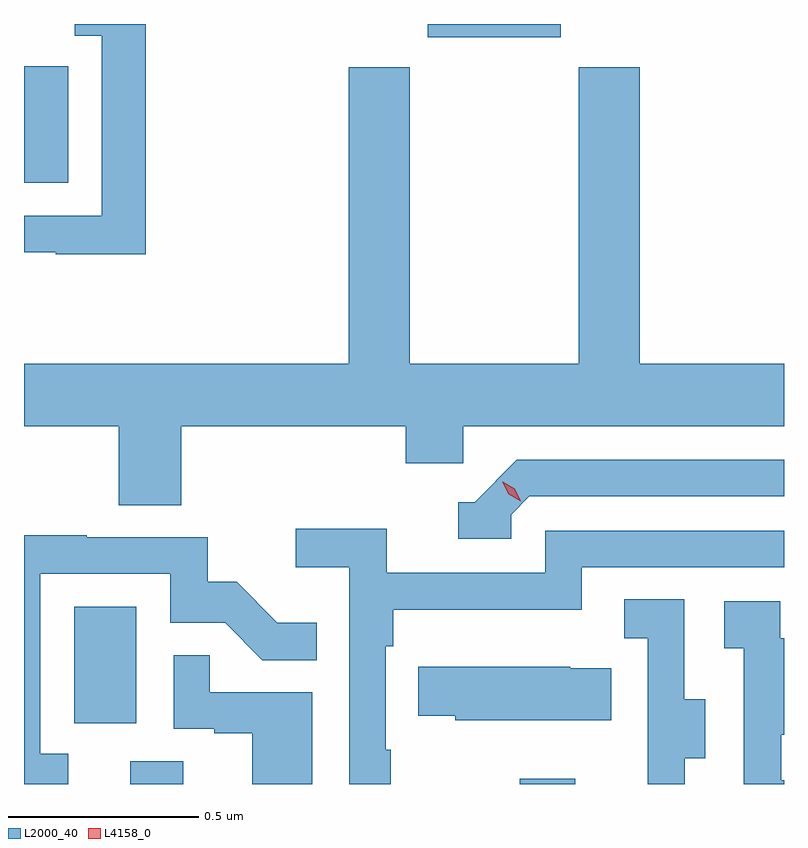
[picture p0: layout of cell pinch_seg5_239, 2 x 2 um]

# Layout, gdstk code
import gdstk
lib = gdstk.Library(unit=1e-6, precision=1e-09)
def R(c, l, rs):  # rectangles x0, y0, x1, y1
    for r in rs: c.add(gdstk.rectangle(r[:2], r[2:], *l))
def P(c, l, *ps):  # polygons
    for p in ps: c.add(gdstk.Polygon(p, *l))
L2000_40 = (2000, 40)
L4158_0 = (4158, 0)

pinch_seg5_239 = lib.new_cell('pinch_seg5_239')
R(pinch_seg5_239, L2000_40, [(969.995,913.094,970.135,913.154), (971.02,913.094,971.167,913.108), (969.848,913.254,970.012,913.561), (969.716,914.676,969.832,914.983), (970.778,915.059,971.128,915.094)])
P(pinch_seg5_239, L2000_40, [(970.037,915.094),(969.849,915.094),(969.849,915.063),(969.921,915.063),(969.921,914.589),(969.716,914.589),(969.716,914.493),(969.799,914.493),(969.799,914.488),(970.037,914.488)],
  [(970.13,914.036),(970.721,914.036),(970.721,913.938),(970.872,913.938),(970.872,914.036),(971.716,914.036),(971.716,914.2),(971.336,914.2),(971.336,914.98),(971.176,914.98),(971.176,914.2),(970.731,914.2),(970.731,914.98),(970.571,914.98),(970.571,914.2),(969.716,914.2),(969.716,914.036),(969.965,914.036),(969.965,913.828),(970.13,913.828)],
  [(970.998,913.803),(971.046,913.851),(971.716,913.851),(971.716,913.947),(971.013,913.947),(970.902,913.836),(970.859,913.836),(970.859,913.74),(970.998,913.74)],
  [(970.681,913.184),(970.668,913.184),(970.668,913.457),(970.688,913.457),(970.688,913.553),(971.184,913.553),(971.184,913.665),(971.716,913.665),(971.716,913.761),(971.088,913.761),(971.088,913.65),(970.67,913.65),(970.67,913.766),(970.431,913.766),(970.431,913.664),(970.572,913.664),(970.572,913.094),(970.681,913.094)],
  [(969.832,913.173),(969.759,913.173),(969.759,913.647),(970.101,913.647),(970.101,913.518),(970.245,913.518),(970.343,913.42),(970.487,913.42),(970.487,913.519),(970.383,913.519),(970.276,913.626),(970.2,913.626),(970.2,913.743),(969.881,913.743),(969.881,913.748),(969.716,913.748),(969.716,913.094),(969.832,913.094)],
  [(971.455,913.162),(971.509,913.162),(971.509,913.317),(971.454,913.317),(971.454,913.58),(971.295,913.58),(971.295,913.477),(971.358,913.477),(971.358,913.173),(971.357,913.173),(971.357,913.094),(971.455,913.094)],
  [(971.716,913.104),(971.709,913.104),(971.709,913.223),(971.716,913.223),(971.716,913.477),(971.706,913.477),(971.706,913.575),(971.559,913.575),(971.559,913.451),(971.61,913.451),(971.61,913.094),(971.716,913.094)],
  [(970.474,913.335),(970.205,913.335),(970.205,913.433),(970.11,913.433),(970.11,913.239),(970.217,913.239),(970.217,913.227),(970.316,913.227),(970.316,913.094),(970.474,913.094)],
  [(971.261,913.399),(971.153,913.399),(971.153,913.402),(970.753,913.402),(970.753,913.273),(970.851,913.273),(970.851,913.262),(971.261,913.262)])
P(pinch_seg5_239, L4158_0, [(971.023,913.838),(970.992,913.857),(970.975,913.89),(970.975,913.89),(970.976,913.89),(971.007,913.871),(971.023,913.838),(971.023,913.838)])

lib.write_gds('pinch_seg5_239.gds')
